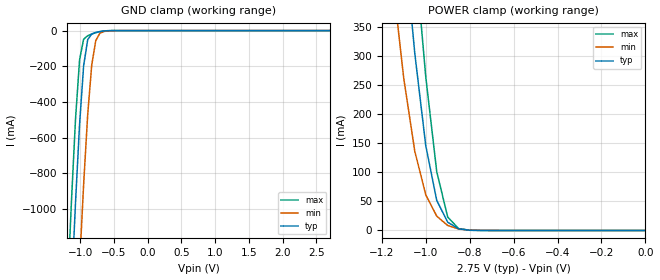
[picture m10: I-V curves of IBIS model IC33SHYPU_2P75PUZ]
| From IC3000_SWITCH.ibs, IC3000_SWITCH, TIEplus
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|   Model IC33SHYPU_2P75PUZ
[Model]   IC33SHYPU_2P75PUZ
Model_type   Input
Polarity   Non-Inverting
Vinl =   0.8200V
Vinh =   1.9300V
C_comp   1.6800pF   1.6800pF   1.6800pF
[Temperature Range]   25.0000   0.1250k   -40.0000
[Voltage Range]   2.7500V   2.5000V   3.0000V
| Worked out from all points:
|   GND clamp passes 1 mA (typ) near -0.60 V on its own axis
|   POWER clamp passes 1 mA (typ) near -0.81 V on its own axis
[GND_clamp]
| voltage   I(typ)   I(min)   I(max)
-2.75V    -17.02A    -17.82A    -16.57A
-1.19V    -1.973A    -2.848A    -1.462A
-1.13V    -1.453A    -2.319A    -952mA
-1.07V    -961.9mA   -1.806A    -494.2mA
-1.01V    -524.4mA   -1.315A    -162.9mA
-950mV    -197.8mA   -862.4mA   -48.41mA
-890mV    -51.2mA    -472.9mA   -28.94mA
-830mV    -18.95mA   -192.8mA   -19.47mA
-770mV    -10.44mA   -56.11mA   -11.77mA
-710mV    -5.643mA   -15.28mA   -5.841mA
-650mV    -2.514mA   -5.077mA   -2.147mA
2.71V     148pA      3.084nA    129.4pA
[POWER_clamp]
| voltage   I(typ)   I(min)   I(max)
-2.75V    9.52A      8.73A      10.17A
-1.15V    732.9mA    428mA      979.8mA
-1.1V     506.3mA    260.8mA    722.9mA
-1.05V    304.4mA    136.2mA    480.2mA
-1V       145.7mA    61.22mA    263.9mA
-950mV    51.67mA    24.6mA     101mA
-900mV    14.1mA     8.529mA    22.97mA
-850mV    2.852mA    2.482mA    3.15mA
-800mV    471.9uA    685.4uA    302.8uA
-750mV    76.24uA    214.6uA    28.26uA
0V        151.6pA    2.342nA    146.6pA
